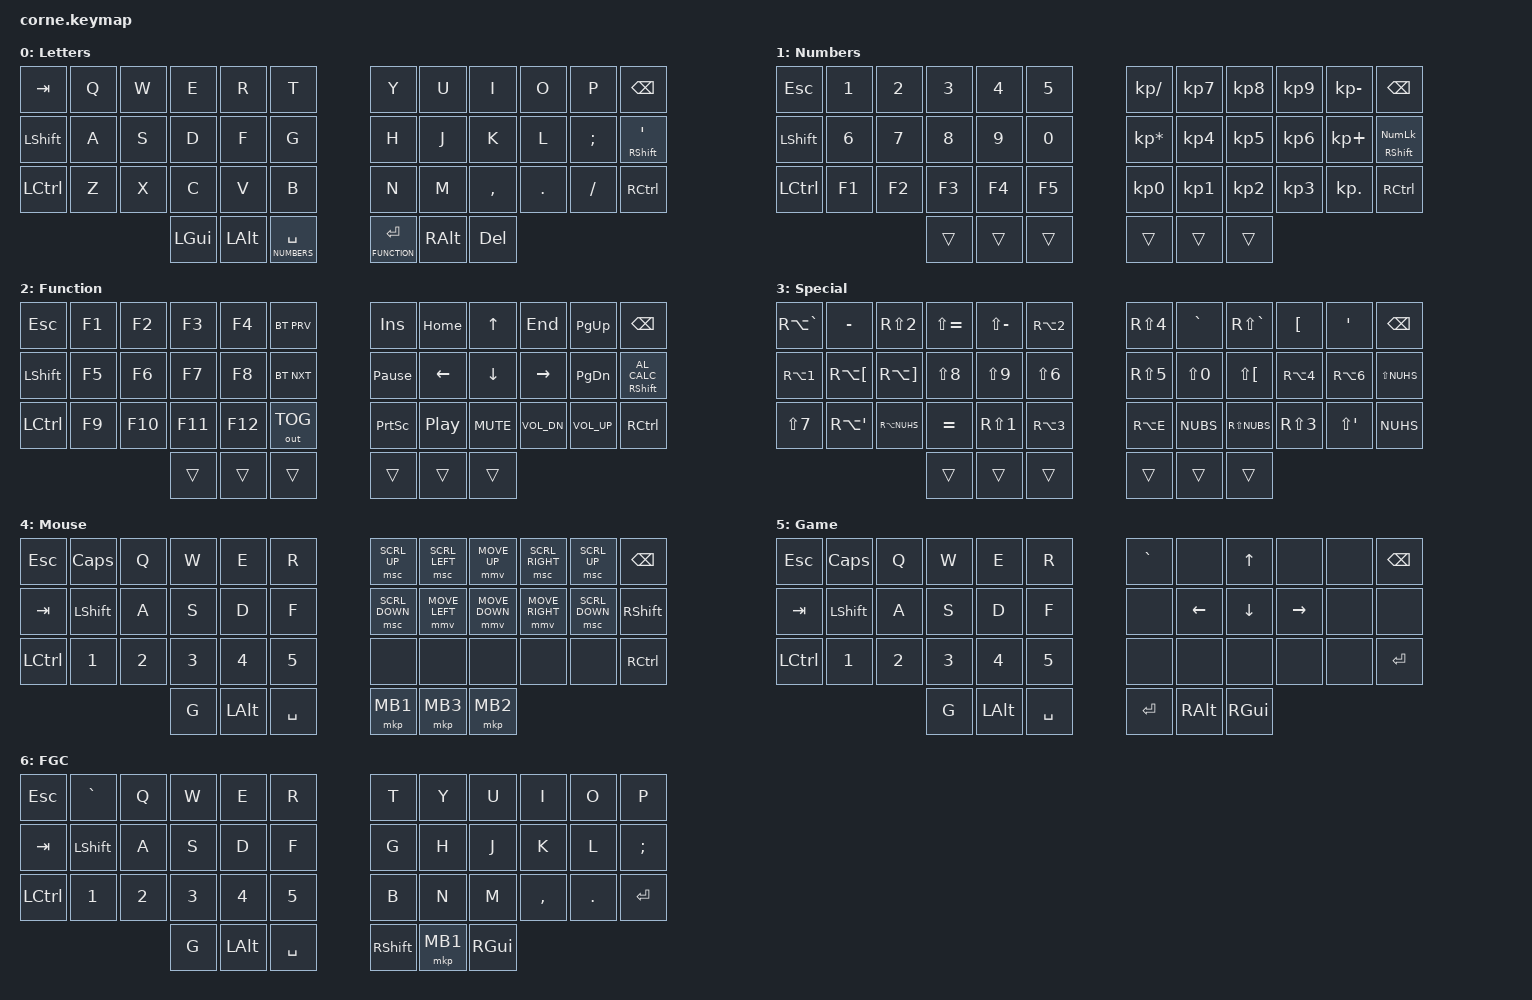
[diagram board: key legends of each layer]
/*
 * Copyright (c) 2020 The ZMK Contributors
 *
 * SPDX-License-Identifier: MIT
 */

#include <behaviors.dtsi>
#include <dt-bindings/zmk/keys.h>
#include <dt-bindings/zmk/bt.h>
#include <dt-bindings/zmk/outputs.h>
#include <dt-bindings/zmk/ext_power.h>
#include <dt-bindings/led/led.h>
#include <dt-bindings/zmk/backlight.h>
#include <dt-bindings/zmk/rgb.h>
#include <dt-bindings/zmk/reset.h>
#include <dt-bindings/zmk/pointing.h>

#define ZMK_POINTING_DEFAULT_MOVE_VAL 1500  // default: 600
#define ZMK_POINTING_DEFAULT_SCRL_VAL 20    // default: 10

#define LETTERS 0
#define NUMBERS 1
#define FUNCTION 2
#define SPECIAL 3
#define MOUSE 4
#define GAME 5
#define FGC 6

#define KEY_TAB 0
#define KEY_T 5
#define KEY_LSHIFT 12
#define KEY_G 17
#define KEY_H 18
#define KEY_TILDE 23
#define KEY_RSHIFT 23
#define KEY_WIN 36
#define KEY_LALT 37
#define KEY_SPACE 38
#define KEY_ENTER 39
#define KEY_RALT 40
#define KEY_DEL 41

&mt {
    tapping-term-ms = <200>;
};

&lt {
    tapping-term-ms = <200>;
};

/ {
        behaviors {
            mt: mod_tap {
                compatible = "zmk,behavior-hold-tap";
                #binding-cells = <2>;
                flavor = "balanced";
                tapping-term-ms = <200>;
                bindings = <&kp>, <&kp>;
                display-name = "Mod-Tap";
            };
        };

        combos {
                compatible = "zmk,combos";
                combo_mo_mouse {
                    timeout-ms = <50>;
                    key-positions = <KEY_LALT KEY_SPACE>;
                    slow-release;
                    bindings = <&mo MOUSE>;
                    layers = <LETTERS>;
                };
                combo_to_mouse {
                    timeout-ms = <50>;
                    key-positions = <KEY_ENTER KEY_RALT KEY_DEL>;
                    bindings = <&to MOUSE>;
                    layers = <LETTERS>;
                };
                combo_to_game {
                    timeout-ms = <50>;
                    key-positions = <KEY_WIN KEY_LALT KEY_SPACE>;
                    bindings = <&to GAME>;
                    layers = <LETTERS>;
                };
                combo_to_fgc {
                    timeout-ms = <50>;
                    key-positions = <KEY_ENTER KEY_RALT KEY_DEL KEY_WIN KEY_LALT KEY_SPACE>;
                    bindings = <&to FGC>;
                    layers = <LETTERS>;
                };
                combo_to_letters {
                    timeout-ms = <50>;
                    key-positions = <KEY_WIN KEY_LALT KEY_SPACE>;
                    bindings = <&to LETTERS>;
                    layers = <MOUSE GAME FGC>;
                };
                combo_to_letters_alt {
                    timeout-ms = <50>;
                    key-positions = <KEY_ENTER KEY_RALT KEY_DEL>;
                    bindings = <&to LETTERS>;
                    layers = <MOUSE GAME FGC>;
                };
                combo_caps_word {
                    timeout-ms = <50>;
                    key-positions = <KEY_LSHIFT KEY_RSHIFT>;
                    bindings = <&caps_word>;
                    layers = <LETTERS>;
                };
                combo_caps {
                    timeout-ms = <50>;
                    key-positions = <KEY_LSHIFT KEY_LALT>;
                    bindings = <&kp CAPS>;
                    layers = <LETTERS>;
                };
                combo_bt_clr {
                    timeout-ms = <100>;
                    key-positions = <KEY_H KEY_TILDE>;
                    bindings = <&bt BT_CLR>;
                    layers = <FUNCTION>;
                };
        };

        
        conditional_layers {
            compatible = "zmk,conditional-layers";
            tri_layer {
                if-layers = <NUMBERS FUNCTION>;
                then-layer = <SPECIAL>;
            };
        };

        keymap {
                compatible = "zmk,keymap";

                letters {
                        display-name = "Letters";
                        bindings = <
   &kp TAB             &kp Q               &kp W               &kp E               &kp R               &kp T                                   &kp Y               &kp U               &kp I               &kp O               &kp P               &kp BSPC
   &kp LSHIFT          &kp A               &kp S               &kp D               &kp F               &kp G                                   &kp H               &kp J               &kp K               &kp L               &kp SEMI            &mt RSHIFT SQT
   &kp LCTRL           &kp Z               &kp X               &kp C               &kp V               &kp B                                   &kp N               &kp M               &kp COMMA           &kp DOT             &kp FSLH            &kp RCTRL
                                                               &kp LGUI            &kp LALT            &lt NUMBERS SPACE                       &lt FUNCTION RET    &kp RALT            &kp DEL
                        >;
                };

                numbers {
                        display-name = "Numbers";
                        bindings = <
   &kp ESC             &kp N1              &kp N2              &kp N3              &kp N4              &kp N5                                  &kp KP_SLASH        &kp KP_N7           &kp KP_N8           &kp KP_N9           &kp KP_MINUS        &kp BSPC
   &kp LSHIFT          &kp N6              &kp N7              &kp N8              &kp N9              &kp N0                                  &kp KP_ASTERISK     &kp KP_N4           &kp KP_N5           &kp KP_N6           &kp KP_PLUS         &mt RSHIFT KP_NUMLOCK
   &kp LCTRL           &kp F1              &kp F2              &kp F3              &kp F4              &kp F5                                  &kp KP_N0           &kp KP_N1           &kp KP_N2           &kp KP_N3           &kp KP_DOT          &kp RCTRL
                                                               &trans              &trans              &trans                                  &trans              &trans              &trans
                        >;
                };

                function {
                        display-name = "Function";
                        bindings = <
   &kp ESC             &kp F1              &kp F2              &kp F3              &kp F4              &bt BT_PRV                              &kp INS             &kp HOME            &kp UP              &kp END              &kp PG_UP           &kp BSPC
   &kp LSHIFT          &kp F5              &kp F6              &kp F7              &kp F8              &bt BT_NXT                              &kp PAUSE_BREAK     &kp LEFT            &kp DOWN            &kp RIGHT            &kp PG_DN           &mt RSHIFT C_AL_CALC
   &kp LCTRL           &kp F9              &kp F10             &kp F11             &kp F12             &out OUT_TOG                            &kp PSCRN           &kp C_PP            &kp C_MUTE          &kp C_VOL_DN         &kp C_VOL_UP        &kp RCTRL
                                                               &trans              &trans              &trans                                  &trans              &trans              &trans
                        >;
                };

                special {
                        display-name = "Special";
                        bindings = <
   &kp RA(GRAVE)       &kp MINUS           &kp RS(N2)          &kp LS(EQUAL)       &kp LS(MINUS)       &kp RA(N2)                              &kp RS(N4)          &kp GRAVE           &kp RS(GRAVE)       &kp LBKT            &kp SQT             &kp BSPC
   &kp RA(N1)          &kp RA(LBKT)        &kp RA(RBKT)        &kp LS(N8)          &kp LS(N9)          &kp LS(N6)                              &kp RS(N5)          &kp LS(N0)          &kp LS(LBKT)        &kp RA(N4)          &kp RA(N6)          &kp LS(NUHS)
   &kp LS(N7)          &kp RA(SQT)         &kp RA(NUHS)        &kp EQUAL           &kp RS(N1)          &kp RA(N3)                              &kp RA(E)           &kp NUBS            &kp RS(NUBS)        &kp RS(N3)          &kp LS(SQT)         &kp NUHS
                                                               &trans              &trans              &trans                                  &trans              &trans              &trans
                        >;
                };

                mouse {
                        display-name = "Mouse";
                        bindings = <
   &kp ESC             &kp CAPS            &kp Q               &kp W               &kp E               &kp R                                   &msc SCRL_UP        &msc SCRL_LEFT      &mmv MOVE_UP        &msc SCRL_RIGHT     &msc SCRL_UP        &kp BSPC
   &kp TAB             &kp LSHFT           &kp A               &kp S               &kp D               &kp F                                   &msc SCRL_DOWN      &mmv MOVE_LEFT      &mmv MOVE_DOWN      &mmv MOVE_RIGHT     &msc SCRL_DOWN      &kp RSHFT
   &kp LCTRL           &kp N1              &kp N2              &kp N3              &kp N4              &kp N5                                  &none               &none               &none               &none               &none               &kp RCTRL
                                                               &kp G               &kp LALT            &kp SPACE                               &mkp MB1            &mkp MB3            &mkp MB2
                        >;
                };

                game {
                        display-name = "Game";
                        bindings = <
   &kp ESC             &kp CAPS            &kp Q               &kp W               &kp E               &kp R                                   &kp GRAVE           &none               &kp UP              &none               &none               &kp BSPC
   &kp TAB             &kp LSHIFT          &kp A               &kp S               &kp D               &kp F                                   &none               &kp LEFT            &kp DOWN            &kp RIGHT           &none               &none
   &kp LCTRL           &kp N1              &kp N2              &kp N3              &kp N4              &kp N5                                  &none               &none               &none               &none               &none               &kp RET
                                                               &kp G               &kp LALT            &kp SPACE                               &kp RET             &kp RALT            &kp RGUI
                        >;
                };

                fgc {
                        display-name = "FGC";
                        bindings = <
   &kp ESC             &kp GRAVE           &kp Q               &kp W               &kp E               &kp R                                   &kp T               &kp Y               &kp U               &kp I               &kp O               &kp P
   &kp TAB             &kp LSHFT           &kp A               &kp S               &kp D               &kp F                                   &kp G               &kp H               &kp J               &kp K               &kp L               &kp SEMI
   &kp LCTRL           &kp N1              &kp N2              &kp N3              &kp N4              &kp N5                                  &kp B               &kp N               &kp M               &kp COMMA           &kp DOT             &kp RET
                                                               &kp G               &kp LALT            &kp SPACE                               &kp RSHFT           &mkp MB1            &kp RGUI
                        >;
                };
        };
};
